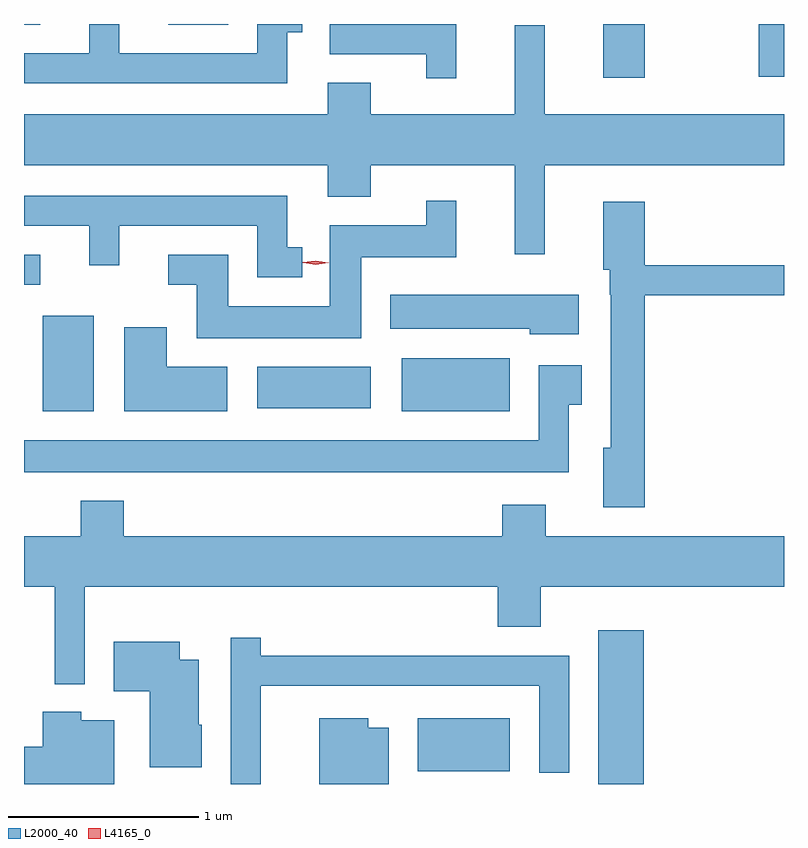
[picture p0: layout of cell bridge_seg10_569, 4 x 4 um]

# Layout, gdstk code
import gdstk
lib = gdstk.Library(unit=1e-6, precision=1e-09)
def R(c, l, rs):  # rectangles x0, y0, x1, y1
    for r in rs: c.add(gdstk.rectangle(r[:2], r[2:], *l))
def P(c, l, *ps):  # polygons
    for p in ps: c.add(gdstk.Polygon(p, *l))
L2000_40 = (2000, 40)
L4165_0 = (4165, 0)

bridge_seg10_569 = lib.new_cell('bridge_seg10_569')
R(bridge_seg10_569, L2000_40, [(649.636,2159.499,649.874,2160.309), (648.686,2159.566,649.169,2159.844), (646.711,2161.461,646.979,2161.964), (648.601,2161.461,649.169,2161.739), (647.841,2161.476,648.439,2161.694), (646.613,2162.126,646.698,2162.284), (649.661,2163.216,649.879,2163.499), (650.481,2163.221,650.613,2163.499), (646.613,2163.496,646.698,2163.499), (647.373,2163.496,647.689,2163.499)])
P(bridge_seg10_569, L2000_40, [(648.889,2163.499),(648.221,2163.499),(648.221,2163.341),(648.731,2163.341),(648.731,2163.213),(648.889,2163.213)],
  [(647.999,2163.456),(648.078,2163.456),(648.078,2163.499),(647.841,2163.499),(647.841,2163.344),(647.114,2163.344),(647.114,2163.499),(646.956,2163.499),(646.956,2163.344),(646.613,2163.344),(646.613,2163.186),(647.999,2163.186)],
  [(649.354,2162.756),(650.613,2162.756),(650.613,2163.024),(649.354,2163.024),(649.354,2163.493),(649.196,2163.493),(649.196,2163.024),(648.439,2163.024),(648.439,2163.189),(648.211,2163.189),(648.211,2163.024),(646.613,2163.024),(646.613,2162.756),(648.211,2162.756),(648.211,2162.591),(648.439,2162.591),(648.439,2162.756),(649.196,2162.756),(649.196,2162.288),(649.354,2162.288)],
  [(648.078,2162.324),(647.999,2162.324),(647.999,2162.594),(646.613,2162.594),(646.613,2162.436),(646.956,2162.436),(646.956,2162.228),(647.114,2162.228),(647.114,2162.436),(647.841,2162.436),(647.841,2162.166),(648.078,2162.166)],
  [(648.389,2162.271),(648.889,2162.271),(648.889,2162.568),(648.731,2162.568),(648.731,2162.439),(648.221,2162.439),(648.221,2162.014),(647.689,2162.014),(647.689,2162.284),(647.373,2162.284),(647.373,2162.126),(647.521,2162.126),(647.521,2161.846),(648.389,2161.846)],
  [(649.879,2162.071),(650.613,2162.071),(650.613,2162.229),(649.879,2162.229),(649.879,2162.564),(649.661,2162.564),(649.661,2162.206),(649.696,2162.206),(649.696,2162.075),(649.701,2162.075),(649.701,2161.269),(649.661,2161.269),(649.661,2160.956),(649.879,2160.956)],
  [(649.534,2162.074),(648.541,2162.074),(648.541,2161.896),(649.276,2161.896),(649.276,2161.866),(649.534,2161.866)],
  [(647.684,2161.694),(647.364,2161.694),(647.364,2161.904),(647.141,2161.904),(647.141,2161.461),(647.684,2161.461)],
  [(649.479,2161.496),(649.549,2161.496),(649.549,2161.704),(649.321,2161.704),(649.321,2161.309),(646.613,2161.309),(646.613,2161.141),(649.479,2161.141)],
  [(646.934,2160.536),(649.106,2160.536),(649.106,2160.326),(649.334,2160.326),(649.334,2160.536),(650.613,2160.536),(650.613,2160.804),(649.359,2160.804),(649.359,2160.969),(649.131,2160.969),(649.131,2160.804),(647.139,2160.804),(647.139,2160.989),(646.911,2160.989),(646.911,2160.804),(646.613,2160.804),(646.613,2160.536),(646.776,2160.536),(646.776,2160.023),(646.934,2160.023)],
  [(647.859,2160.016),(649.326,2160.016),(649.326,2159.558),(649.484,2159.558),(649.484,2160.174),(647.859,2160.174),(647.859,2160.268),(647.701,2160.268),(647.701,2159.499),(647.859,2159.499)],
  [(647.549,2159.81),(647.534,2159.81),(647.534,2160.154),(647.434,2160.154),(647.434,2160.249),(647.086,2160.249),(647.086,2159.986),(647.276,2159.986),(647.276,2159.586),(647.549,2159.586)],
  [(647.089,2159.834),(646.914,2159.834),(646.914,2159.879),(646.711,2159.879),(646.711,2159.694),(646.613,2159.694),(646.613,2159.499),(647.089,2159.499)],
  [(648.534,2159.794),(648.424,2159.794),(648.424,2159.844),(648.166,2159.844),(648.166,2159.499),(648.534,2159.499)])
P(bridge_seg10_569, L4165_0, [(648.148,2162.233),(648.079,2162.242),(648.079,2162.243),(648.079,2162.244),(648.148,2162.253),(648.218,2162.243),(648.218,2162.242),(648.218,2162.242)])

lib.write_gds('bridge_seg10_569.gds')
